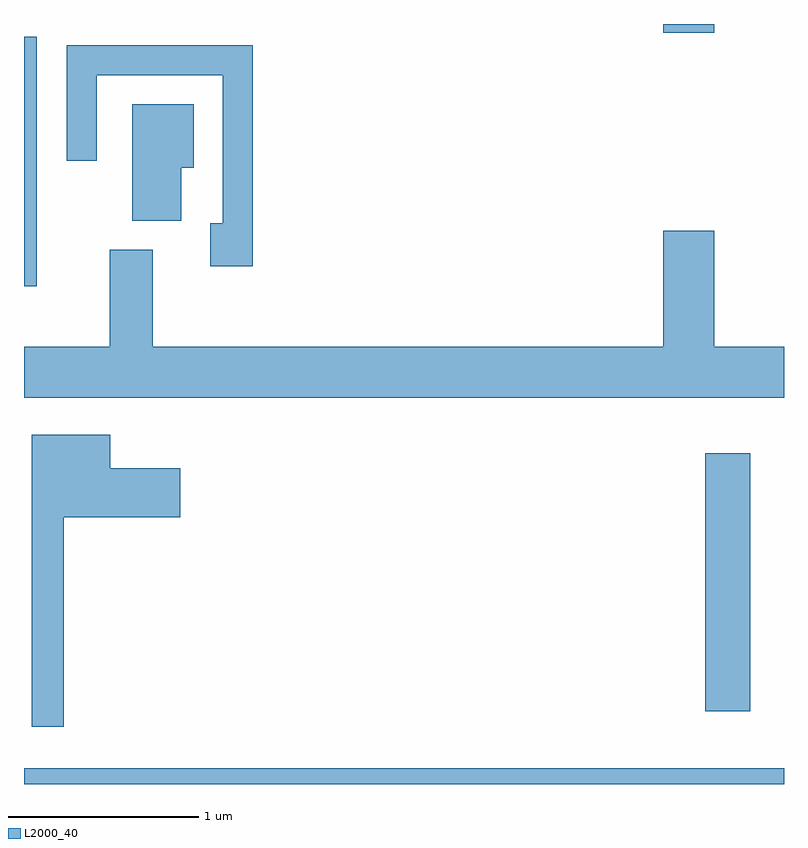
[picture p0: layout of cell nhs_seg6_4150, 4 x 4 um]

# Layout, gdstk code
import gdstk
lib = gdstk.Library(unit=1e-6, precision=1e-09)
def R(c, l, rs):  # rectangles x0, y0, x1, y1
    for r in rs: c.add(gdstk.rectangle(r[:2], r[2:], *l))
def P(c, l, *ps):  # polygons
    for p in ps: c.add(gdstk.Polygon(p, *l))
L2000_40 = (2000, 40)

nhs_seg6_4150 = lib.new_cell('nhs_seg6_4150')
R(nhs_seg6_4150, L2000_40, [(311.611,1610.162,315.611,1610.244), (315.196,1610.546,315.434,1611.904), (311.611,1612.781,311.679,1614.094), (314.976,1614.116,315.244,1614.162)])
P(nhs_seg6_4150, L2000_40, [(312.814,1614.049),(311.836,1614.049),(311.836,1613.443),(311.994,1613.443),(311.994,1613.891),(312.656,1613.891),(312.656,1613.114),(312.591,1613.114),(312.591,1612.886),(312.814,1612.886)],
  [(312.439,1613.406),(312.504,1613.406),(312.504,1613.739),(312.181,1613.739),(312.181,1613.126),(312.439,1613.126)],
  [(315.611,1612.464),(315.244,1612.464),(315.244,1613.074),(314.976,1613.074),(314.976,1612.464),(312.289,1612.464),(312.289,1612.974),(312.061,1612.974),(312.061,1612.464),(311.611,1612.464),(311.611,1612.196),(315.611,1612.196)],
  [(311.819,1611.566),(312.434,1611.566),(312.434,1611.824),(312.064,1611.824),(312.064,1611.999),(311.651,1611.999),(311.651,1610.463),(311.819,1610.463)])

lib.write_gds('nhs_seg6_4150.gds')
